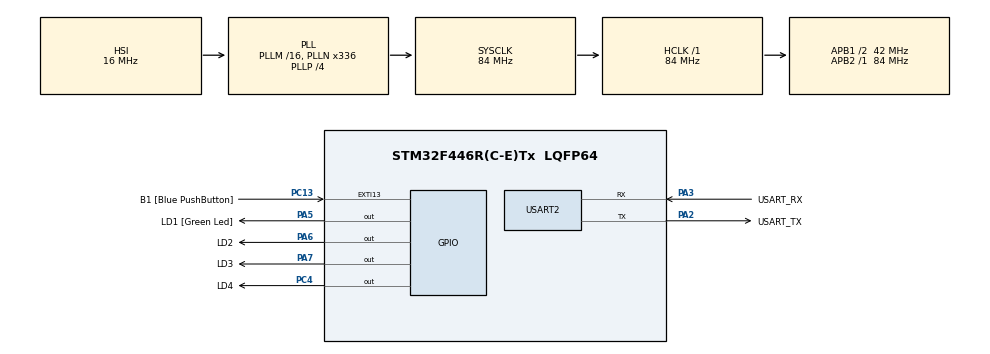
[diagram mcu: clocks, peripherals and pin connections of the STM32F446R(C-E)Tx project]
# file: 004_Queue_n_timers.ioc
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Mcu.Family=STM32F4
Mcu.Name=STM32F446R(C-E)Tx
Mcu.Package=LQFP64
NVIC.PriorityGroup=NVIC_PRIORITYGROUP_4
NVIC.TIM6_DAC_IRQn=true\:15\:0\:false\:false\:true\:false\:true\:true
NVIC.TimeBase=TIM6_DAC_IRQn
NVIC.TimeBaseIP=TIM6
NVIC.USART2_IRQn=true\:6\:0\:true\:false\:true\:true\:true\:true
PA13.GPIO_Label=TMS
PA13.Signal=SYS_JTMS-SWDIO
PA14.GPIO_Label=TCK
PA14.Signal=SYS_JTCK-SWCLK
PA2.GPIO_Label=USART_TX
PA2.Mode=Asynchronous
PA2.Signal=USART2_TX
PA3.GPIO_Label=USART_RX
PA3.Mode=Asynchronous
PA3.Signal=USART2_RX
PA5.GPIO_Label=LD1 [Green Led]
PA5.Signal=GPIO_Output
PA6.GPIO_Label=LD2 
PA6.Signal=GPIO_Output
PA7.GPIO_Label=LD3
PA7.Signal=GPIO_Output
PB3.GPIO_Label=SWO
PB3.Signal=SYS_JTDO-SWO
PC13.GPIO_Label=B1 [Blue PushButton]
PC13.GPIO_ModeDefaultEXTI=GPIO_MODE_IT_FALLING
PC13.Signal=GPXTI13
PC14-OSC32_IN.Signal=RCC_OSC32_IN
PC15-OSC32_OUT.Signal=RCC_OSC32_OUT
PC4.GPIO_Label=LD4 
PC4.Signal=GPIO_Output
PH0-OSC_IN.Signal=RCC_OSC_IN
PH1-OSC_OUT.Signal=RCC_OSC_OUT
ProjectManager.HeapSize=0x200
ProjectManager.StackSize=0x400
ProjectManager.TargetToolchain=STM32CubeIDE
RCC.AHBFreq_Value=84000000
RCC.APB1CLKDivider=RCC_HCLK_DIV2
RCC.APB1Freq_Value=42000000
RCC.APB1TimFreq_Value=84000000
RCC.APB2Freq_Value=84000000
RCC.APB2TimFreq_Value=84000000
RCC.CortexFreq_Value=84000000
RCC.FLatency-AdvancedSettings=FLASH_LATENCY_2
RCC.HCLKFreq_Value=84000000
RCC.HSE_VALUE=8000000
RCC.HSI_VALUE=16000000
RCC.LSE_VALUE=32768
RCC.PLLN=336
RCC.PLLP=RCC_PLLP_DIV4
RCC.SYSCLKFreq_VALUE=84000000
RCC.SYSCLKSource=RCC_SYSCLKSOURCE_PLLCLK
RCC.USBFreq_Value=168000000
RCC.VCOOutputFreq_Value=336000000
RTC.HourFormat=RTC_HOURFORMAT_12
USART2.VirtualMode=VM_ASYNC
VP_RTC_VS_RTC_Activate.Mode=RTC_Enabled
VP_SYS_VS_tim6.Mode=TIM6
board=NUCLEO-F446RE

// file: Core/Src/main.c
/* USER CODE BEGIN Header */
/**
  ******************************************************************************
  * @file           : main.c
  * @brief          : Main program body
  ******************************************************************************
  * @attention
  *
  * Copyright (c) 2025 STMicroelectronics.
  * All rights reserved.
  *
  * This software is licensed under terms that can be found in the LICENSE file
  * in the root directory of this software component.
  * If no LICENSE file comes with this software, it is provided AS-IS.
  *
  ******************************************************************************
  */
/* USER CODE END Header */
#include "main.h"

RTC_HandleTypeDef hrtc;

UART_HandleTypeDef huart2;

/* USER CODE BEGIN PV */

xTaskHandle handle_cmd_task;
xTaskHandle handle_menu_task;
xTaskHandle handle_print_task;
xTaskHandle handle_led_task;
xTaskHandle handle_rtc_task;

QueueHandle_t q_data;
QueueHandle_t q_print;

QueueHandle_t q_cmd;

volatile uint8_t user_data;

state_t curr_state = sMainMenu;

/* USER CODE END PV */

void SystemClock_Config(void);
static void MX_GPIO_Init(void);
static void MX_RTC_Init(void);
static void MX_USART2_UART_Init(void);

int main(void)
{

  /* USER CODE BEGIN 1 */
	BaseType_t status;
  /* USER CODE END 1 */

  /* MCU Configuration--------------------------------------------------------*/

  /* Reset of all peripherals, Initializes the Flash interface and the Systick. */
  HAL_Init();

  /* Configure the system clock */
  SystemClock_Config();

  /* Initialize all configured peripherals */
  MX_GPIO_Init();
  MX_RTC_Init();
  MX_USART2_UART_Init();

  status = xTaskCreate(menu_task, "menu_task", 250, NULL, 2, &handle_menu_task);

  configASSERT(status == pdPASS);

  status = xTaskCreate(cmd_task, "cmd_task", 250, NULL, 2, &handle_cmd_task);

  configASSERT(status == pdPASS);

  status = xTaskCreate(print_task, "print_task", 250, NULL, 2, &handle_print_task);

  configASSERT(status == pdPASS);

  status = xTaskCreate(led_task, "led_task", 250, NULL, 2, &handle_led_task);

  configASSERT(status == pdPASS);

  status = xTaskCreate(rtc_task, "rtc_task", 250, NULL, 2, &handle_rtc_task);

  configASSERT(status == pdPASS);

  q_data = xQueueCreate(10, sizeof(char));

  configASSERT(q_data != NULL);

  q_print = xQueueCreate(10, sizeof(size_t));

  configASSERT(q_print != NULL);

  q_cmd = xQueueCreate(10, sizeof(char));
  configASSERT(q_cmd != NULL);

  HAL_UART_Receive_IT(&huart2, &user_data, 1);

  vTaskStartScheduler();

  /* Infinite loop */
  while (1)
  {

  }
}

void SystemClock_Config(void)
{
  RCC_OscInitTypeDef RCC_OscInitStruct = {0};
  RCC_ClkInitTypeDef RCC_ClkInitStruct = {0};

  /** Configure the main internal regulator output voltage
  */
  __HAL_RCC_PWR_CLK_ENABLE();
  __HAL_PWR_VOLTAGESCALING_CONFIG(PWR_REGULATOR_VOLTAGE_SCALE3);

  /** Initializes the RCC Oscillators according to the specified parameters
  * in the RCC_OscInitTypeDef structure.
  */
  RCC_OscInitStruct.OscillatorType = RCC_OSCILLATORTYPE_HSI|RCC_OSCILLATORTYPE_LSI;
  RCC_OscInitStruct.LSEState = RCC_LSE_OFF;
  RCC_OscInitStruct.HSIState = RCC_HSI_ON;
  RCC_OscInitStruct.HSICalibrationValue = RCC_HSICALIBRATION_DEFAULT;
  RCC_OscInitStruct.LSIState = RCC_LSI_ON;
  RCC_OscInitStruct.PLL.PLLState = RCC_PLL_ON;
  RCC_OscInitStruct.PLL.PLLSource = RCC_PLLSOURCE_HSI;
  RCC_OscInitStruct.PLL.PLLM = 16;
  RCC_OscInitStruct.PLL.PLLN = 336;
  RCC_OscInitStruct.PLL.PLLP = RCC_PLLP_DIV4;
  RCC_OscInitStruct.PLL.PLLQ = 2;
  RCC_OscInitStruct.PLL.PLLR = 2;
  if (HAL_RCC_OscConfig(&RCC_OscInitStruct) != HAL_OK)
  {
    Error_Handler();
  }

  /** Initializes the CPU, AHB and APB buses clocks
  */
  RCC_ClkInitStruct.ClockType = RCC_CLOCKTYPE_HCLK|RCC_CLOCKTYPE_SYSCLK
                              |RCC_CLOCKTYPE_PCLK1|RCC_CLOCKTYPE_PCLK2;
  RCC_ClkInitStruct.SYSCLKSource = RCC_SYSCLKSOURCE_PLLCLK;
  RCC_ClkInitStruct.AHBCLKDivider = RCC_SYSCLK_DIV1;
  RCC_ClkInitStruct.APB1CLKDivider = RCC_HCLK_DIV2;
  RCC_ClkInitStruct.APB2CLKDivider = RCC_HCLK_DIV1;

  if (HAL_RCC_ClockConfig(&RCC_ClkInitStruct, FLASH_LATENCY_2) != HAL_OK)
  {
    Error_Handler();
  }
}

static void MX_RTC_Init(void)
{

  /** Initialize RTC Only
  */
  hrtc.Instance = RTC;
  hrtc.Init.HourFormat = RTC_HOURFORMAT_12;
  hrtc.Init.AsynchPrediv = 127;
  hrtc.Init.SynchPrediv = 255;
  hrtc.Init.OutPut = RTC_OUTPUT_DISABLE;
  hrtc.Init.OutPutPolarity = RTC_OUTPUT_POLARITY_HIGH;
  hrtc.Init.OutPutType = RTC_OUTPUT_TYPE_OPENDRAIN;
  if (HAL_RTC_Init(&hrtc) != HAL_OK)
  {
    Error_Handler();
  }

}

static void MX_USART2_UART_Init(void)
{

  huart2.Instance = USART2;
  huart2.Init.BaudRate = 115200;
  huart2.Init.WordLength = UART_WORDLENGTH_8B;
  huart2.Init.StopBits = UART_STOPBITS_1;
  huart2.Init.Parity = UART_PARITY_NONE;
  huart2.Init.Mode = UART_MODE_TX_RX;
  huart2.Init.HwFlowCtl = UART_HWCONTROL_NONE;
  huart2.Init.OverSampling = UART_OVERSAMPLING_16;
  if (HAL_UART_Init(&huart2) != HAL_OK)
  {
    Error_Handler();
  }

}

static void MX_GPIO_Init(void)
{
  GPIO_InitTypeDef GPIO_InitStruct = {0};

  /* GPIO Ports Clock Enable */
  __HAL_RCC_GPIOC_CLK_ENABLE();
  __HAL_RCC_GPIOH_CLK_ENABLE();
  __HAL_RCC_GPIOA_CLK_ENABLE();
  __HAL_RCC_GPIOB_CLK_ENABLE();

  /*Configure GPIO pin Output Level */
  HAL_GPIO_WritePin(GPIOA, LD1_Pin|LD2_Pin|LD3_Pin, GPIO_PIN_RESET);

  /*Configure GPIO pin Output Level */
  HAL_GPIO_WritePin(LD4_GPIO_Port, LD4_Pin, GPIO_PIN_RESET);

  /*Configure GPIO pin : B1_Pin */
  GPIO_InitStruct.Pin = B1_Pin;
  GPIO_InitStruct.Mode = GPIO_MODE_IT_FALLING;
  GPIO_InitStruct.Pull = GPIO_NOPULL;
  HAL_GPIO_Init(B1_GPIO_Port, &GPIO_InitStruct);

  /*Configure GPIO pins : LD1_Pin LD2_Pin LD3_Pin */
  GPIO_InitStruct.Pin = LD1_Pin|LD2_Pin|LD3_Pin;
  GPIO_InitStruct.Mode = GPIO_MODE_OUTPUT_PP;
  GPIO_InitStruct.Pull = GPIO_NOPULL;
  GPIO_InitStruct.Speed = GPIO_SPEED_FREQ_LOW;
  HAL_GPIO_Init(GPIOA, &GPIO_InitStruct);

  /*Configure GPIO pin : LD4_Pin */
  GPIO_InitStruct.Pin = LD4_Pin;
  GPIO_InitStruct.Mode = GPIO_MODE_OUTPUT_PP;
  GPIO_InitStruct.Pull = GPIO_NOPULL;
  GPIO_InitStruct.Speed = GPIO_SPEED_FREQ_LOW;
  HAL_GPIO_Init(LD4_GPIO_Port, &GPIO_InitStruct);

}

/* USER CODE BEGIN 4 */
void HAL_UART_RxCpltCallback(UART_HandleTypeDef *huart)
{
	uint8_t dummy;

	if(! xQueueIsQueueFullFromISR(q_data))
	{
		/* Enqueue data byte */
		xQueueSendFromISR(q_data, (void*) &user_data, NULL);
	} else {
		if (user_data == '\n'){
			/* Make sure that last byte of data is '\n' */
			xQueueReceiveFromISR(q_data, (void *) &dummy, NULL);
			xQueueSendFromISR(q_data, (void *) &user_data, NULL);
		}
	}

	/* Send notification to command handling task if user_data = '\n' */
	if (user_data == '\n'){
		/* Send notificaiton to command handling task */
		xTaskNotifyFromISR(handle_cmd_task, 0, eNoAction, NULL);

	}

	/* Enable UART data byte reception again in IT mode */
	HAL_UART_Receive_IT(&huart2, (uint8_t*) &user_data, 1);

}
/* USER CODE END 4 */

void HAL_TIM_PeriodElapsedCallback(TIM_HandleTypeDef *htim)
{
  if (htim->Instance == TIM6)
  {
    HAL_IncTick();
  }
}

void Error_Handler(void)
{
  __disable_irq();
  while (1)
  {
  }
}
